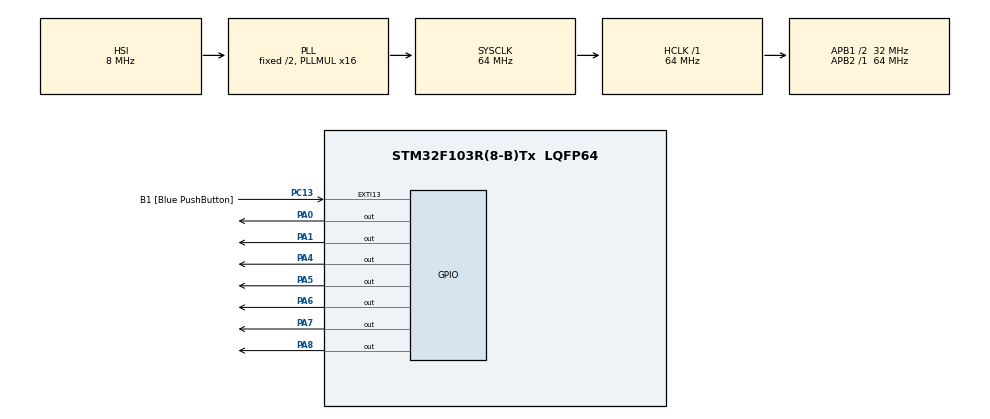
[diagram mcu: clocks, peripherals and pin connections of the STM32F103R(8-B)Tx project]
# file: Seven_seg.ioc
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Mcu.Family=STM32F1
Mcu.Name=STM32F103R(8-B)Tx
Mcu.Package=LQFP64
NVIC.EXTI15_10_IRQn=true\:1\:0\:true\:false\:true\:true\:true\:true
NVIC.PriorityGroup=NVIC_PRIORITYGROUP_4
PA0-WKUP.Signal=GPIO_Output
PA1.Signal=GPIO_Output
PA13.GPIO_Label=TMS
PA13.Mode=Serial_Wire
PA13.Signal=SYS_JTMS-SWDIO
PA14.GPIO_Label=TCK
PA14.Mode=Serial_Wire
PA14.Signal=SYS_JTCK-SWCLK
PA4.Signal=GPIO_Output
PA5.Signal=GPIO_Output
PA6.Signal=GPIO_Output
PA7.Signal=GPIO_Output
PA8.Signal=GPIO_Output
PB3.GPIO_Label=SWO
PB3.Signal=SYS_JTDO-TRACESWO
PC13-TAMPER-RTC.GPIO_Label=B1 [Blue PushButton]
PC13-TAMPER-RTC.GPIO_ModeDefaultEXTI=GPIO_MODE_IT_FALLING
PC13-TAMPER-RTC.GPIO_PuPd=GPIO_NOPULL
PC13-TAMPER-RTC.Signal=GPXTI13
PC14-OSC32_IN.Mode=LSE-External-Oscillator
PC14-OSC32_IN.Signal=RCC_OSC32_IN
PC15-OSC32_OUT.Mode=LSE-External-Oscillator
PC15-OSC32_OUT.Signal=RCC_OSC32_OUT
PD0-OSC_IN.Mode=HSE-External-Clock-Source
PD0-OSC_IN.Signal=RCC_OSC_IN
PD1-OSC_OUT.Mode=HSE-External-Clock-Source
PD1-OSC_OUT.Signal=RCC_OSC_OUT
ProjectManager.HeapSize=0x200
ProjectManager.StackSize=0x400
ProjectManager.TargetToolchain=STM32CubeIDE
RCC.AHBFreq_Value=64000000
RCC.APB1CLKDivider=RCC_HCLK_DIV2
RCC.APB1Freq_Value=32000000
RCC.APB1TimFreq_Value=64000000
RCC.APB2Freq_Value=64000000
RCC.APB2TimFreq_Value=64000000
RCC.HCLKFreq_Value=64000000
RCC.PLLMUL=RCC_PLL_MUL16
RCC.RTCClockSelection=RCC_RTCCLKSOURCE_LSE
RCC.SYSCLKFreq_VALUE=64000000
RCC.SYSCLKSource=RCC_SYSCLKSOURCE_PLLCLK
RCC.USBFreq_Value=64000000
board=NUCLEO-F103RB

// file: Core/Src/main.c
/* USER CODE BEGIN Header */
/**
  ******************************************************************************
  * @file           : main.c
  * @brief          : Main program body
  ******************************************************************************
  * @attention
  *
  * Copyright (c) 2025 STMicroelectronics.
  * All rights reserved.
  *
  * This software is licensed under terms that can be found in the LICENSE file
  * in the root directory of this software component.
  * If no LICENSE file comes with this software, it is provided AS-IS.
  *
  ******************************************************************************
  */
/* USER CODE END Header */
#include "main.h"

int8_t buttonState = 0;
int8_t num = 0;
void SystemClock_Config(void);
static void MX_GPIO_Init(void);
/* USER CODE BEGIN PFP */
uint8_t Segnum[10]={
	0x3f,
	0x06,
	0x5b,
	0x4f,
	0x66,
	0x6d,
	0x7d,
	0x07,
	0x7f,
	0x6f
};
//butten func
void HAL_GPIO_EXTI_Callback(uint16_t GPIO_Pin)
{
  /* Prevent unused argument(s) compilation warning */
  UNUSED(GPIO_Pin);
  /* NOTE: This function Should not be modified, when the callback is needed,
           the HAL_GPIO_EXTI_Callback could be implemented in the user file
   */
  if (GPIO_Pin == USER_BUTTON_Pin){
	  buttonState =1;

  }
}

void Sev_seg_update(uint8_t num){
	HAL_GPIO_WritePin(GPIOA,GPIO_PIN_0, ((num>>0)&0x01));
	HAL_GPIO_WritePin(GPIOA,GPIO_PIN_1, ((num>>1)&0x01));
	HAL_GPIO_WritePin(GPIOA,GPIO_PIN_4, ((num>>2)&0x01));
	HAL_GPIO_WritePin(GPIOA,GPIO_PIN_5, ((num>>3)&0x01));
	HAL_GPIO_WritePin(GPIOA,GPIO_PIN_6, ((num>>4)&0x01));
	HAL_GPIO_WritePin(GPIOA,GPIO_PIN_7, ((num>>5)&0x01));
	HAL_GPIO_WritePin(GPIOA,GPIO_PIN_8, ((num>>6)&0x01));

}

/* USER CODE END PFP */

int main(void)
{

  /* MCU Configuration--------------------------------------------------------*/

  /* Reset of all peripherals, Initializes the Flash interface and the Systick. */
  HAL_Init();

  /* Configure the system clock */
  SystemClock_Config();

  /* Initialize all configured peripherals */
  MX_GPIO_Init();

  /* Infinite loop */
  while (1)
  {
	  if(buttonState ==1){
	 	  	if(num == 9){
	 	  		num = 0;
	 	  	}else{
	 	  		num++;
	 	  	}
	 	  	buttonState=0;
	 	  }
	 	  else if (num ==0){
	 	  	num= 9;
	 	  }else{
	 	  	num--;
	 	  }
	 	  Sev_seg_update(Segnum[num]);
	 	  HAL_Delay(1000);
  }
}

void SystemClock_Config(void)
{
  RCC_OscInitTypeDef RCC_OscInitStruct = {0};
  RCC_ClkInitTypeDef RCC_ClkInitStruct = {0};

  /** Initializes the RCC Oscillators according to the specified parameters
  * in the RCC_OscInitTypeDef structure.
  */
  RCC_OscInitStruct.OscillatorType = RCC_OSCILLATORTYPE_HSI;
  RCC_OscInitStruct.HSIState = RCC_HSI_ON;
  RCC_OscInitStruct.HSICalibrationValue = RCC_HSICALIBRATION_DEFAULT;
  RCC_OscInitStruct.PLL.PLLState = RCC_PLL_ON;
  RCC_OscInitStruct.PLL.PLLSource = RCC_PLLSOURCE_HSI_DIV2;
  RCC_OscInitStruct.PLL.PLLMUL = RCC_PLL_MUL16;
  if (HAL_RCC_OscConfig(&RCC_OscInitStruct) != HAL_OK)
  {
    Error_Handler();
  }

  /** Initializes the CPU, AHB and APB buses clocks
  */
  RCC_ClkInitStruct.ClockType = RCC_CLOCKTYPE_HCLK|RCC_CLOCKTYPE_SYSCLK
                              |RCC_CLOCKTYPE_PCLK1|RCC_CLOCKTYPE_PCLK2;
  RCC_ClkInitStruct.SYSCLKSource = RCC_SYSCLKSOURCE_PLLCLK;
  RCC_ClkInitStruct.AHBCLKDivider = RCC_SYSCLK_DIV1;
  RCC_ClkInitStruct.APB1CLKDivider = RCC_HCLK_DIV2;
  RCC_ClkInitStruct.APB2CLKDivider = RCC_HCLK_DIV1;

  if (HAL_RCC_ClockConfig(&RCC_ClkInitStruct, FLASH_LATENCY_2) != HAL_OK)
  {
    Error_Handler();
  }
}

static void MX_GPIO_Init(void)
{
  GPIO_InitTypeDef GPIO_InitStruct = {0};

  /* GPIO Ports Clock Enable */
  __HAL_RCC_GPIOC_CLK_ENABLE();
  __HAL_RCC_GPIOD_CLK_ENABLE();
  __HAL_RCC_GPIOA_CLK_ENABLE();
  __HAL_RCC_GPIOB_CLK_ENABLE();

  /*Configure GPIO pin Output Level */
  HAL_GPIO_WritePin(GPIOA, GPIO_PIN_0|GPIO_PIN_1|GPIO_PIN_4|GPIO_PIN_5
                          |GPIO_PIN_6|GPIO_PIN_7|GPIO_PIN_8, GPIO_PIN_RESET);

  /*Configure GPIO pin : B1_Pin */
  GPIO_InitStruct.Pin = B1_Pin;
  GPIO_InitStruct.Mode = GPIO_MODE_IT_FALLING;
  GPIO_InitStruct.Pull = GPIO_NOPULL;
  HAL_GPIO_Init(B1_GPIO_Port, &GPIO_InitStruct);

  /*Configure GPIO pins : PA0 PA1 PA4 PA5
                           PA6 PA7 PA8 */
  GPIO_InitStruct.Pin = GPIO_PIN_0|GPIO_PIN_1|GPIO_PIN_4|GPIO_PIN_5
                          |GPIO_PIN_6|GPIO_PIN_7|GPIO_PIN_8;
  GPIO_InitStruct.Mode = GPIO_MODE_OUTPUT_PP;
  GPIO_InitStruct.Pull = GPIO_NOPULL;
  GPIO_InitStruct.Speed = GPIO_SPEED_FREQ_LOW;
  HAL_GPIO_Init(GPIOA, &GPIO_InitStruct);

  /* EXTI interrupt init*/
  HAL_NVIC_SetPriority(EXTI15_10_IRQn, 1, 0);
  HAL_NVIC_EnableIRQ(EXTI15_10_IRQn);

}

void Error_Handler(void)
{
  __disable_irq();
  while (1)
  {
  }
}
